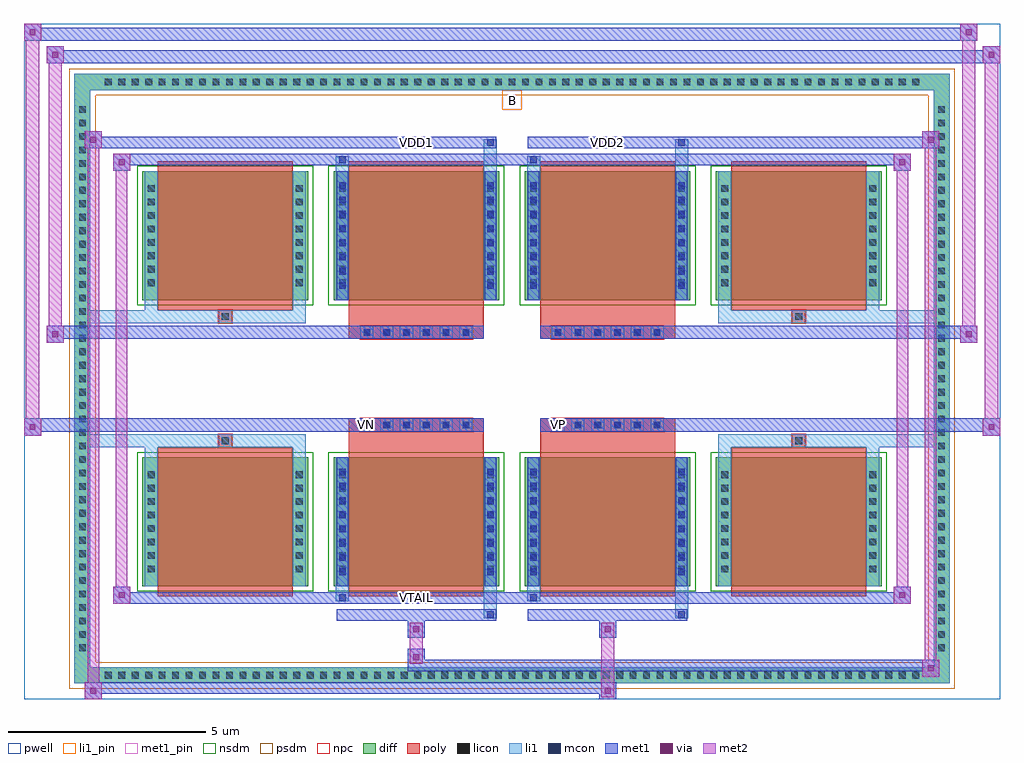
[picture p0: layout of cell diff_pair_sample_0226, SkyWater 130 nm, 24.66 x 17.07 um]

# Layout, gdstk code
import gdstk
lib = gdstk.Library(unit=1e-6, precision=5e-09)
def R(c, l, rs):  # rectangles x0, y0, x1, y1
    for r in rs: c.add(gdstk.rectangle(r[:2], r[2:], *l))
def A(c, l, x, y, w, h, nx, ny, dx, dy):  # array of equal rectangles
    R(c, l, [(x+i*dx, y+j*dy, x+i*dx+w, y+j*dy+h) for i in range(nx) for j in range(ny)])
def P(c, l, *ps):  # polygons
    for p in ps: c.add(gdstk.Polygon(p, *l))
pwell = (64, 44)
diff = (65, 20)
poly = (66, 20)
licon = (66, 44)
li1_pin = (67, 16)
li1 = (67, 20)
mcon = (67, 44)
met1_pin = (68, 16)
met1 = (68, 20)
via = (68, 44)
met2 = (69, 20)
nsdm = (93, 44)
psdm = (94, 20)
npc = (95, 20)

diff_pair_sample_0226 = lib.new_cell('diff_pair_sample_0226')
R(diff_pair_sample_0226, pwell, [(-12.33,-8.1,12.33,8.97), (-9.65,-6.29,-0.01,-0.805), (0.01,-6.29,9.65,-0.805), (-9.65,0.805,-0.01,6.29), (0.01,0.805,9.65,6.29)])
A(diff_pair_sample_0226, diff, -10.405, -7.7, 0.41, 0.41, 61, 2, 0.34, 14.99)
A(diff_pair_sample_0226, diff, -11.06, -7.005, 0.41, 0.41, 1, 41, 0, 0.34)
A(diff_pair_sample_0226, diff, 10.65, -7.005, 0.41, 0.41, 1, 41, 0, 0.34)
A(diff_pair_sample_0226, diff, -9.34, -5.245, 4.19, 3.26, 4, 2, 4.83, 7.23)
R(diff_pair_sample_0226, diff, [(-10.405,-7.7,10.405,-7.29), (-11.06,-7.005,-10.65,7.005), (10.65,-7.005,11.06,7.005), (-10.405,7.29,10.405,7.7)])
P(diff_pair_sample_0226, diff, [(11.06,7.7),(-11.06,7.7),(-11.06,-7.29),(-10.65,-7.29),(-10.65,7.29),(10.65,7.29),(10.65,-7.29),(-10.65,-7.29),(-11.06,-7.29),(-11.06,-7.7),(11.06,-7.7)])
A(diff_pair_sample_0226, poly, -8.95, -5.495, 3.41, 3.76, 4, 2, 4.83, 7.23)
A(diff_pair_sample_0226, poly, -3.83, -1.335, 0.33, 0.33, 6, 2, 0.5, 2.34)
A(diff_pair_sample_0226, poly, 1, -1.335, 0.33, 0.33, 6, 2, 0.5, 2.34)
R(diff_pair_sample_0226, poly, [(-7.41,-1.735,-7.08,-1.405), (-7.41,-1.735,-7.08,-1.405), (-4.12,-1.735,-0.71,-1.335), (0.71,-1.735,4.12,-1.335), (7.08,-1.735,7.41,-1.405), (7.08,-1.735,7.41,-1.405), (-4.12,-1.335,-0.71,-1.005), (0.71,-1.335,4.12,-1.005), (-4.12,1.005,-0.71,1.335), (0.71,1.005,4.12,1.335), (-4.12,1.335,-0.71,1.735), (0.71,1.335,4.12,1.735), (-7.41,1.405,-7.08,1.735), (-7.41,1.405,-7.08,1.735), (7.08,1.405,7.41,1.735), (7.08,1.405,7.41,1.735)])
A(diff_pair_sample_0226, licon, -10.285, -7.58, 0.17, 0.17, 61, 2, 0.34, 14.99)
A(diff_pair_sample_0226, licon, -10.94, -6.885, 0.17, 0.17, 1, 41, 0, 0.34)
A(diff_pair_sample_0226, licon, 10.77, -6.885, 0.17, 0.17, 1, 41, 0, 0.34)
A(diff_pair_sample_0226, licon, -9.2, -4.89, 0.17, 0.17, 1, 8, 0, 0.34)
A(diff_pair_sample_0226, licon, -5.46, -4.89, 0.17, 0.17, 1, 8, 0, 0.34)
A(diff_pair_sample_0226, licon, -4.37, -4.89, 0.17, 0.17, 1, 8, 0, 0.34)
A(diff_pair_sample_0226, licon, -0.63, -4.89, 0.17, 0.17, 1, 8, 0, 0.34)
A(diff_pair_sample_0226, licon, 0.46, -4.89, 0.17, 0.17, 1, 8, 0, 0.34)
A(diff_pair_sample_0226, licon, 4.2, -4.89, 0.17, 0.17, 1, 8, 0, 0.34)
A(diff_pair_sample_0226, licon, 5.29, -4.89, 0.17, 0.17, 1, 8, 0, 0.34)
A(diff_pair_sample_0226, licon, 9.03, -4.89, 0.17, 0.17, 1, 8, 0, 0.34)
A(diff_pair_sample_0226, licon, -3.75, -1.255, 0.17, 0.17, 6, 2, 0.5, 2.34)
A(diff_pair_sample_0226, licon, 1.08, -1.255, 0.17, 0.17, 6, 2, 0.5, 2.34)
A(diff_pair_sample_0226, licon, -9.2, 2.34, 0.17, 0.17, 1, 8, 0, 0.34)
A(diff_pair_sample_0226, licon, -5.46, 2.34, 0.17, 0.17, 1, 8, 0, 0.34)
A(diff_pair_sample_0226, licon, -4.37, 2.34, 0.17, 0.17, 1, 8, 0, 0.34)
A(diff_pair_sample_0226, licon, -0.63, 2.34, 0.17, 0.17, 1, 8, 0, 0.34)
A(diff_pair_sample_0226, licon, 0.46, 2.34, 0.17, 0.17, 1, 8, 0, 0.34)
A(diff_pair_sample_0226, licon, 4.2, 2.34, 0.17, 0.17, 1, 8, 0, 0.34)
A(diff_pair_sample_0226, licon, 5.29, 2.34, 0.17, 0.17, 1, 8, 0, 0.34)
A(diff_pair_sample_0226, licon, 9.03, 2.34, 0.17, 0.17, 1, 8, 0, 0.34)
R(diff_pair_sample_0226, licon, [(-7.33,-1.655,-7.16,-1.485), (7.16,-1.655,7.33,-1.485), (-7.33,1.485,-7.16,1.655), (7.16,1.485,7.33,1.655)])
R(diff_pair_sample_0226, li1_pin, [(-0.25,6.79,0.25,7.29)])
A(diff_pair_sample_0226, li1, -10.365, -7.66, 0.33, 0.33, 61, 2, 0.34, 14.99)
A(diff_pair_sample_0226, li1, -11.02, -6.965, 0.33, 0.33, 1, 41, 0, 0.34)
A(diff_pair_sample_0226, li1, 10.69, -6.965, 0.33, 0.33, 1, 41, 0, 0.34)
A(diff_pair_sample_0226, li1, -9.28, -4.97, 0.33, 0.33, 1, 8, 0, 0.34)
A(diff_pair_sample_0226, li1, -5.54, -4.97, 0.33, 0.33, 1, 8, 0, 0.34)
A(diff_pair_sample_0226, li1, -4.45, -4.97, 0.33, 0.33, 1, 8, 0, 0.34)
A(diff_pair_sample_0226, li1, -0.71, -4.97, 0.33, 0.33, 1, 8, 0, 0.34)
A(diff_pair_sample_0226, li1, 0.38, -4.97, 0.33, 0.33, 1, 8, 0, 0.34)
A(diff_pair_sample_0226, li1, 4.12, -4.97, 0.33, 0.33, 1, 8, 0, 0.34)
A(diff_pair_sample_0226, li1, 5.21, -4.97, 0.33, 0.33, 1, 8, 0, 0.34)
A(diff_pair_sample_0226, li1, 8.95, -4.97, 0.33, 0.33, 1, 8, 0, 0.34)
A(diff_pair_sample_0226, li1, -4.37, -4.96, 0.17, 0.17, 1, 8, 0, 0.36)
A(diff_pair_sample_0226, li1, -0.63, -4.96, 0.17, 0.17, 1, 8, 0, 0.36)
A(diff_pair_sample_0226, li1, 0.46, -4.96, 0.17, 0.17, 1, 8, 0, 0.36)
A(diff_pair_sample_0226, li1, 4.2, -4.96, 0.17, 0.17, 1, 8, 0, 0.36)
A(diff_pair_sample_0226, li1, -3.83, -1.335, 0.33, 0.33, 6, 2, 0.5, 2.34)
A(diff_pair_sample_0226, li1, 1, -1.335, 0.33, 0.33, 6, 2, 0.5, 2.34)
A(diff_pair_sample_0226, li1, -9.28, 2.26, 0.33, 0.33, 1, 8, 0, 0.34)
A(diff_pair_sample_0226, li1, -5.54, 2.26, 0.33, 0.33, 1, 8, 0, 0.34)
A(diff_pair_sample_0226, li1, -4.45, 2.26, 0.33, 0.33, 1, 8, 0, 0.34)
A(diff_pair_sample_0226, li1, -0.71, 2.26, 0.33, 0.33, 1, 8, 0, 0.34)
A(diff_pair_sample_0226, li1, 0.38, 2.26, 0.33, 0.33, 1, 8, 0, 0.34)
A(diff_pair_sample_0226, li1, 4.12, 2.26, 0.33, 0.33, 1, 8, 0, 0.34)
A(diff_pair_sample_0226, li1, 5.21, 2.26, 0.33, 0.33, 1, 8, 0, 0.34)
A(diff_pair_sample_0226, li1, 8.95, 2.26, 0.33, 0.33, 1, 8, 0, 0.34)
A(diff_pair_sample_0226, li1, -4.37, 2.27, 0.17, 0.17, 1, 8, 0, 0.36)
A(diff_pair_sample_0226, li1, -0.63, 2.27, 0.17, 0.17, 1, 8, 0, 0.36)
A(diff_pair_sample_0226, li1, 0.46, 2.27, 0.17, 0.17, 1, 8, 0, 0.36)
A(diff_pair_sample_0226, li1, 4.2, 2.27, 0.17, 0.17, 1, 8, 0, 0.36)
R(diff_pair_sample_0226, li1, [(-11.06,-7.7,-10.65,-7.29), (-11.06,-7.7,-10.65,-7.29), (-10.65,-7.7,10.65,-7.29), (10.65,-7.7,11.06,-7.29), (10.65,-7.7,11.06,-7.29), (-11.06,-7.29,-10.65,7.29), (10.65,-7.29,11.06,7.29), (-0.71,-6.05,-0.38,-5.245), (-0.63,-6.05,-0.46,-5.88), (4.12,-6.05,4.45,-5.245), (4.2,-6.05,4.37,-5.88), (-4.45,-5.62,-4.12,-5.245), (-4.37,-5.62,-4.2,-5.45), (0.38,-5.62,0.71,-5.245), (0.46,-5.62,0.63,-5.45), (-9.28,-5.245,-8.95,-1.985), (-5.54,-5.245,-5.21,-1.985), (-4.45,-5.245,-4.12,-1.985), (-0.71,-5.245,-0.38,-1.985), (0.38,-5.245,0.71,-1.985), (4.12,-5.245,4.45,-1.985), (5.21,-5.245,5.54,-1.985), (8.95,-5.245,9.28,-1.985), (-4.37,-4.96,-4.2,-2.27), (-0.63,-4.96,-0.46,-2.27), (0.46,-4.96,0.63,-2.27), (4.2,-4.96,4.37,-2.27), (-9.28,-1.985,-8.95,-1.405), (-5.54,-1.985,-5.21,-1.405), (5.21,-1.985,5.54,-1.405), (8.95,-1.985,9.28,-1.405), (-11.06,-1.735,-7.41,-1.405), (-9.28,-1.735,-7.41,-1.405), (-7.41,-1.735,-7.08,-1.405), (-7.08,-1.735,-5.21,-1.405), (5.21,-1.735,7.08,-1.405), (7.08,-1.735,7.41,-1.405), (7.08,-1.735,11.06,-1.405), (7.41,-1.735,9.28,-1.405), (-11.06,1.405,-7.41,1.735), (-9.28,1.405,-7.41,1.735), (-9.28,1.405,-8.95,1.985), (-7.41,1.405,-7.08,1.735), (-7.08,1.405,-5.21,1.735), (-5.54,1.405,-5.21,1.985), (5.21,1.405,7.08,1.735), (5.21,1.405,5.54,1.985), (7.08,1.405,7.41,1.735), (7.08,1.405,11.06,1.735), (7.41,1.405,9.28,1.735), (8.95,1.405,9.28,1.985), (-9.28,1.985,-8.95,5.245), (-5.54,1.985,-5.21,5.245), (-4.45,1.985,-4.12,5.245), (-0.71,1.985,-0.38,5.245), (0.38,1.985,0.71,5.245), (4.12,1.985,4.45,5.245), (5.21,1.985,5.54,5.245), (8.95,1.985,9.28,5.245), (-4.37,2.27,-4.2,4.96), (-0.63,2.27,-0.46,4.96), (0.46,2.27,0.63,4.96), (4.2,2.27,4.37,4.96), (-4.45,5.245,-4.12,5.62), (-0.71,5.245,-0.38,6.05), (0.38,5.245,0.71,5.62), (4.12,5.245,4.45,6.05), (-4.37,5.45,-4.2,5.62), (0.46,5.45,0.63,5.62), (-0.63,5.88,-0.46,6.05), (4.2,5.88,4.37,6.05), (-11.06,7.29,-10.65,7.7), (-11.06,7.29,-10.65,7.7), (-10.65,7.29,10.65,7.7), (10.65,7.29,11.06,7.7), (10.65,7.29,11.06,7.7)])
A(diff_pair_sample_0226, mcon, -4.37, -4.96, 0.17, 0.17, 1, 8, 0, 0.36)
A(diff_pair_sample_0226, mcon, -0.63, -4.96, 0.17, 0.17, 1, 8, 0, 0.36)
A(diff_pair_sample_0226, mcon, 0.46, -4.96, 0.17, 0.17, 1, 8, 0, 0.36)
A(diff_pair_sample_0226, mcon, 4.2, -4.96, 0.17, 0.17, 1, 8, 0, 0.36)
A(diff_pair_sample_0226, mcon, -3.75, -1.255, 0.17, 0.17, 6, 2, 0.5, 2.34)
A(diff_pair_sample_0226, mcon, 1.08, -1.255, 0.17, 0.17, 6, 2, 0.5, 2.34)
A(diff_pair_sample_0226, mcon, -4.37, 2.27, 0.17, 0.17, 1, 8, 0, 0.36)
A(diff_pair_sample_0226, mcon, -0.63, 2.27, 0.17, 0.17, 1, 8, 0, 0.36)
A(diff_pair_sample_0226, mcon, 0.46, 2.27, 0.17, 0.17, 1, 8, 0, 0.36)
A(diff_pair_sample_0226, mcon, 4.2, 2.27, 0.17, 0.17, 1, 8, 0, 0.36)
R(diff_pair_sample_0226, mcon, [(-0.63,-6.05,-0.46,-5.88), (4.2,-6.05,4.37,-5.88), (-4.37,-5.62,-4.2,-5.45), (0.46,-5.62,0.63,-5.45), (-4.37,5.45,-4.2,5.62), (0.46,5.45,0.63,5.62), (-0.63,5.88,-0.46,6.05), (4.2,5.88,4.37,6.05)])
R(diff_pair_sample_0226, met1_pin, [(-2.55,-5.66,-2.28,-5.39), (-3.8,-1.295,-3.53,-1.025), (1.03,-1.295,1.3,-1.025), (-2.55,5.84,-2.28,6.11), (2.28,5.84,2.55,6.11)])
A(diff_pair_sample_0226, met1, -4.43, -5.02, 0.29, 0.29, 1, 8, 0, 0.36)
A(diff_pair_sample_0226, met1, -0.69, -5.02, 0.29, 0.29, 1, 8, 0, 0.36)
A(diff_pair_sample_0226, met1, 0.4, -5.02, 0.29, 0.29, 1, 8, 0, 0.36)
A(diff_pair_sample_0226, met1, 4.14, -5.02, 0.29, 0.29, 1, 8, 0, 0.36)
A(diff_pair_sample_0226, met1, -3.81, -1.315, 0.29, 0.29, 6, 2, 0.5, 2.34)
A(diff_pair_sample_0226, met1, 1.02, -1.315, 0.29, 0.29, 6, 2, 0.5, 2.34)
A(diff_pair_sample_0226, met1, -4.43, 2.21, 0.29, 0.29, 1, 8, 0, 0.36)
A(diff_pair_sample_0226, met1, -0.69, 2.21, 0.29, 0.29, 1, 8, 0, 0.36)
A(diff_pair_sample_0226, met1, 0.4, 2.21, 0.29, 0.29, 1, 8, 0, 0.36)
A(diff_pair_sample_0226, met1, 4.14, 2.21, 0.29, 0.29, 1, 8, 0, 0.36)
R(diff_pair_sample_0226, met1, [(-10.79,-8.1,-10.36,-7.67), (2.2,-8.1,2.63,-7.67), (-10.79,-7.96,2.63,-7.67), (10.36,-7.53,10.79,-7.1), (-2.63,-7.39,10.79,-7.1), (-2.63,-7.25,-2.2,-6.82), (-2.63,-6.54,-2.2,-6.11), (2.2,-6.54,2.63,-6.11), (-4.43,-6.11,-0.4,-5.82), (-0.69,-6.11,-0.4,-5.82), (0.4,-6.11,4.43,-5.82), (4.14,-6.11,4.43,-5.82), (-10.08,-5.68,-9.65,-5.25), (-10.08,-5.68,-4.43,-5.39), (-4.43,-5.68,-4.14,-5.39), (-4.43,-5.68,-0.4,-5.39), (-0.4,-5.68,0.4,-5.39), (0.4,-5.68,0.69,-5.39), (0.4,-5.68,4.43,-5.39), (4.43,-5.68,10.08,-5.39), (9.65,-5.68,10.08,-5.25), (-4.43,-5.245,-4.14,-1.985), (-0.69,-5.245,-0.4,-1.985), (0.4,-5.245,0.69,-1.985), (4.14,-5.245,4.43,-1.985), (-12.33,-1.435,-11.9,-1.005), (11.9,-1.435,12.33,-1.005), (-12.33,-1.335,-0.71,-1.005), (-4.12,-1.335,-0.71,-1.005), (0.71,-1.335,4.12,-1.005), (0.71,-1.335,12.33,-1.005), (-11.76,0.905,-11.33,1.335), (11.33,0.905,11.76,1.335), (-11.76,1.005,-4.12,1.335), (-4.12,1.005,-0.71,1.335), (0.71,1.005,4.12,1.335), (4.12,1.005,11.76,1.335), (-4.43,1.985,-4.14,5.245), (-0.69,1.985,-0.4,5.245), (0.4,1.985,0.69,5.245), (4.14,1.985,4.43,5.245), (-10.08,5.25,-9.65,5.68), (9.65,5.25,10.08,5.68), (-10.08,5.39,-4.43,5.68), (-4.43,5.39,-4.14,5.68), (-4.43,5.39,-0.4,5.68), (-0.4,5.39,0.4,5.68), (0.4,5.39,0.69,5.68), (0.4,5.39,4.43,5.68), (4.43,5.39,10.08,5.68), (-10.79,5.82,-10.36,6.25), (-10.79,5.82,-4.43,6.11), (-4.43,5.82,-0.4,6.11), (-0.69,5.82,-0.4,6.11), (0.4,5.82,4.43,6.11), (4.14,5.82,4.43,6.11), (4.43,5.82,10.79,6.11), (10.36,5.82,10.79,6.25), (-11.76,7.97,-11.33,8.4), (-11.76,7.97,-9.65,8.3), (-9.65,7.97,9.65,8.3), (9.65,7.97,12.33,8.3), (11.9,7.97,12.33,8.4), (-12.33,8.54,-11.9,8.97), (-12.33,8.54,-9.65,8.87), (-9.65,8.54,9.65,8.87), (9.65,8.54,11.76,8.87), (11.33,8.54,11.76,8.97)])
R(diff_pair_sample_0226, via, [(-10.65,-7.96,-10.5,-7.81), (2.34,-7.96,2.49,-7.81), (10.5,-7.39,10.65,-7.24), (-2.49,-7.11,-2.34,-6.96), (-2.49,-6.4,-2.34,-6.25), (2.34,-6.4,2.49,-6.25), (-9.94,-5.54,-9.79,-5.39), (9.79,-5.54,9.94,-5.39), (-12.19,-1.295,-12.04,-1.145), (12.04,-1.295,12.19,-1.145), (-11.62,1.045,-11.47,1.195), (11.47,1.045,11.62,1.195), (-9.94,5.39,-9.79,5.54), (9.79,5.39,9.94,5.54), (-10.65,5.96,-10.5,6.11), (10.5,5.96,10.65,6.11), (-11.62,8.11,-11.47,8.26), (12.04,8.11,12.19,8.26), (-12.19,8.68,-12.04,8.83), (11.47,8.68,11.62,8.83)])
R(diff_pair_sample_0226, met2, [(-10.79,-8.1,-10.36,-7.67), (-10.72,-8.1,-10.43,6.25), (-10.43,-8.1,-10.36,-7.67), (-10.74,-8.05,-10.41,-7.72), (2.25,-8.05,2.58,-7.72), (2.25,-7.72,2.58,-6.49), (10.36,-7.53,10.79,-7.1), (10.43,-7.53,10.72,6.25), (10.72,-7.53,10.79,-7.1), (10.41,-7.48,10.74,-7.15), (-2.58,-7.2,-2.25,-6.87), (-2.58,-6.87,-2.25,-6.49), (-2.58,-6.49,-2.25,-6.16), (2.25,-6.49,2.58,-6.16), (-10.08,-5.68,-9.65,-5.25), (-10.01,-5.68,-9.72,5.68), (-9.72,-5.68,-9.65,-5.25), (9.65,-5.68,10.08,-5.25), (9.72,-5.68,10.01,5.68), (10.01,-5.68,10.08,-5.25), (-10.03,-5.63,-9.7,-5.3), (9.7,-5.63,10.03,-5.3), (-12.33,-1.435,-11.9,-1.005), (-12.28,-1.435,-11.95,8.97), (-11.95,-1.435,-11.9,-1.005), (11.9,-1.435,12.33,-1.005), (11.95,-1.435,12.28,8.4), (12.28,-1.435,12.33,-1.005), (-12.28,-1.385,-11.95,-1.055), (11.95,-1.385,12.28,-1.055), (-11.76,0.905,-11.33,1.335), (-11.71,0.905,-11.38,8.4), (-11.38,0.905,-11.33,1.335), (11.33,0.905,11.76,1.335), (11.38,0.905,11.71,8.97), (11.71,0.905,11.76,1.335), (-11.71,0.955,-11.38,1.285), (11.38,0.955,11.71,1.285), (-10.08,5.25,-9.65,5.68), (-9.72,5.25,-9.65,5.68), (9.65,5.25,10.08,5.68), (10.01,5.25,10.08,5.68), (-10.03,5.3,-9.7,5.63), (9.7,5.3,10.03,5.63), (-10.79,5.82,-10.36,6.25), (-10.43,5.82,-10.36,6.25), (10.36,5.82,10.79,6.25), (10.72,5.82,10.79,6.25), (-10.74,5.87,-10.41,6.2), (10.41,5.87,10.74,6.2), (-11.76,7.97,-11.33,8.4), (-11.38,7.97,-11.33,8.4), (11.9,7.97,12.33,8.4), (12.28,7.97,12.33,8.4), (-11.71,8.02,-11.38,8.35), (11.95,8.02,12.28,8.35), (-12.33,8.54,-11.9,8.97), (-11.95,8.54,-11.9,8.97), (11.33,8.54,11.76,8.97), (11.71,8.54,11.76,8.97), (-12.28,8.59,-11.95,8.92), (11.38,8.59,11.71,8.92)])
A(diff_pair_sample_0226, nsdm, -9.47, -5.375, 4.45, 3.52, 4, 2, 4.83, 7.23)
P(diff_pair_sample_0226, psdm, [(11.19,7.83),(-11.19,7.83),(-11.19,-7.16),(-10.52,-7.16),(-10.52,7.16),(10.52,7.16),(10.52,-7.16),(-10.52,-7.16),(-11.19,-7.16),(-11.19,-7.83),(11.19,-7.83)])
A(diff_pair_sample_0226, npc, -3.85, -1.355, 0.37, 0.37, 6, 2, 0.5, 2.34)
A(diff_pair_sample_0226, npc, 0.98, -1.355, 0.37, 0.37, 6, 2, 0.5, 2.34)
R(diff_pair_sample_0226, npc, [(-7.43,-1.755,-7.06,-1.385), (7.06,-1.755,7.43,-1.385), (-3.85,-1.355,-2.98,-0.985), (-3.85,-1.355,-2.98,-0.985), (-3.35,-1.355,-2.48,-0.985), (-3.35,-1.355,-2.48,-0.985), (-2.85,-1.355,-1.98,-0.985), (-2.85,-1.355,-1.98,-0.985), (-2.35,-1.355,-1.48,-0.985), (-2.35,-1.355,-1.48,-0.985), (-1.85,-1.355,-0.98,-0.985), (-1.85,-1.355,-0.98,-0.985), (0.98,-1.355,1.85,-0.985), (0.98,-1.355,1.85,-0.985), (1.48,-1.355,2.35,-0.985), (1.48,-1.355,2.35,-0.985), (1.98,-1.355,2.85,-0.985), (1.98,-1.355,2.85,-0.985), (2.48,-1.355,3.35,-0.985), (2.48,-1.355,3.35,-0.985), (2.98,-1.355,3.85,-0.985), (2.98,-1.355,3.85,-0.985), (-3.85,0.985,-2.98,1.355), (-3.85,0.985,-2.98,1.355), (-3.35,0.985,-2.48,1.355), (-3.35,0.985,-2.48,1.355), (-2.85,0.985,-1.98,1.355), (-2.85,0.985,-1.98,1.355), (-2.35,0.985,-1.48,1.355), (-2.35,0.985,-1.48,1.355), (-1.85,0.985,-0.98,1.355), (-1.85,0.985,-0.98,1.355), (0.98,0.985,1.85,1.355), (0.98,0.985,1.85,1.355), (1.48,0.985,2.35,1.355), (1.48,0.985,2.35,1.355), (1.98,0.985,2.85,1.355), (1.98,0.985,2.85,1.355), (2.48,0.985,3.35,1.355), (2.48,0.985,3.35,1.355), (2.98,0.985,3.85,1.355), (2.98,0.985,3.85,1.355), (-7.43,1.385,-7.06,1.755), (7.06,1.385,7.43,1.755)])
diff_pair_sample_0226.add(gdstk.Label('VTAIL', (-2.415,-5.525), layer=68, texttype=5))
diff_pair_sample_0226.add(gdstk.Label('VN', (-3.665,-1.16), layer=68, texttype=5))
diff_pair_sample_0226.add(gdstk.Label('VP', (1.165,-1.16), layer=68, texttype=5))
diff_pair_sample_0226.add(gdstk.Label('B', (0,7.04), layer=67, texttype=5))
diff_pair_sample_0226.add(gdstk.Label('VDD2', (2.415,5.975), layer=68, texttype=5))
diff_pair_sample_0226.add(gdstk.Label('VDD1', (-2.415,5.975), layer=68, texttype=5))

lib.write_gds('diff_pair_sample_0226.gds')
